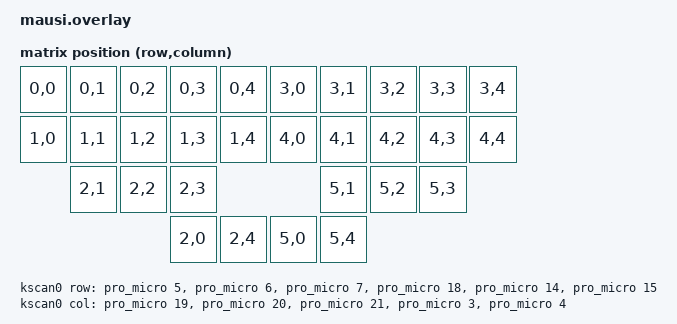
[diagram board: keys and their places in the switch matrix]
/*
 * Copyright (c) 2021 The ZMK Contributors
 *
 * SPDX-License-Identifier: MIT
 */

#include <dt-bindings/zmk/matrix_transform.h>

/ {
    kscan0: kscan0 {
        compatible = "zmk,kscan-gpio-matrix";
        diode-direction = "col2row";
        wakeup-source;

        col-gpios
            = <&pro_micro 19 GPIO_ACTIVE_HIGH>
            , <&pro_micro 20 GPIO_ACTIVE_HIGH>
            , <&pro_micro 21 GPIO_ACTIVE_HIGH>
            , <&pro_micro 3 GPIO_ACTIVE_HIGH>
            , <&pro_micro 4 GPIO_ACTIVE_HIGH>
            ;

        row-gpios
            = <&pro_micro 5 (GPIO_ACTIVE_HIGH | GPIO_PULL_DOWN)>
            , <&pro_micro 6 (GPIO_ACTIVE_HIGH | GPIO_PULL_DOWN)>
            , <&pro_micro 7 (GPIO_ACTIVE_HIGH | GPIO_PULL_DOWN)>
            , <&pro_micro 18 (GPIO_ACTIVE_HIGH | GPIO_PULL_DOWN)>
            , <&pro_micro 14 (GPIO_ACTIVE_HIGH | GPIO_PULL_DOWN)>
            , <&pro_micro 15 (GPIO_ACTIVE_HIGH | GPIO_PULL_DOWN)>
            ;
    };
};

/ {
    default_transform: keymap_transform0 {
        compatible = "zmk,matrix-transform";
        columns = <5>;
        rows = <6>;
        map = <
            RC(0,0) RC(0,1) RC(0,2) RC(0,3) RC(0,4) RC(3,0) RC(3,1) RC(3,2) RC(3,3) RC(3,4)
            RC(1,0) RC(1,1) RC(1,2) RC(1,3) RC(1,4) RC(4,0) RC(4,1) RC(4,2) RC(4,3) RC(4,4)
                    RC(2,1) RC(2,2) RC(2,3)                 RC(5,1) RC(5,2) RC(5,3)
                                    RC(2,0) RC(2,4) RC(5,0) RC(5,4)
            >;
    };
};

/ {
    physical_layout0: physical_layout_0 { // First physical layout, use different naming for other layouts
        compatible = "zmk,physical-layout";
        display-name = "Default Layout";
        kscan = <&kscan0>; // Label of the kscan node, optional if all layouts use the same
        transform = <&default_transform>; // Label of the matrix transform for this layout
    };

    tps65_input: tps65 {
        compatible = "zmk,input-listener";
        device = <&tps65>;
    };
};
/ {
    chosen {
        zmk,physical-layout = &physical_layout0;
		zmk,keyscan = &kscan0;
    };
};

&pinctrl {
    i2c1_default: i2c1_default {
        group1 {
            psels = <NRF_PSEL(TWIM_SDA, 1, 4)>,
                    <NRF_PSEL(TWIM_SCL, 1, 6)>;
        };
    };

    i2c1_sleep: i2c1_sleep {
        group1 {
            psels = <NRF_PSEL(TWIM_SDA, 1, 4)>,
                    <NRF_PSEL(TWIM_SCL, 1, 6)>;
            low-power-enable;
        };
    };
};


&i2c1 {
    status = "okay";
    compatible = "nordic,nrf-twim";
    pinctrl-0 = <&i2c1_default>;
    pinctrl-1 = <&i2c1_sleep>;
    pinctrl-names = "default", "sleep";

    tps65: iqs5xx@74 {
        status = "okay";
        compatible = "azoteq,iqs5xx";
        reg = <0x74>;
        reset-gpios = <&gpio0 10 GPIO_ACTIVE_LOW>;
        rdy-gpios = <&gpio0  9 GPIO_ACTIVE_HIGH>;

        // Gesture support
        one-finger-tap;
        two-finger-tap;
        press-and-hold;
        press-and-hold-time = <250>;

        // Scroll support
        scroll;
        natural-scroll-y;
        natural-scroll-x;
		switch-xy;

        // Tuning parameters
        bottom-beta = <5>;
        stationary-threshold = <5>;
    };
};

